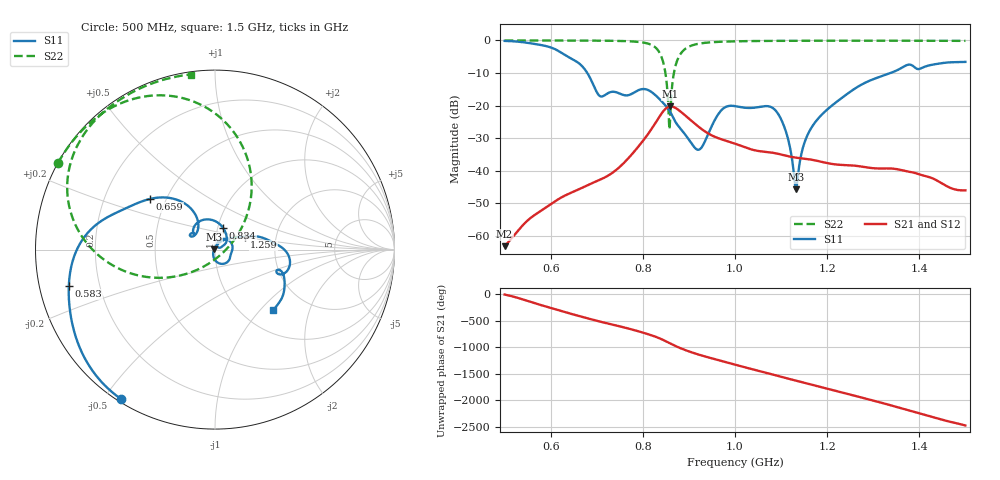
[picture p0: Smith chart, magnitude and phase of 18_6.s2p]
! TOUCHSTONE file generated by CST MICROWAVE STUDIO
! Date and time: Sat Oct 24 11:46:30 2020
! Project name: Scenario_1_Circular_Tissue_out_of_Line.cst
! Parameters = {dy1=-51.203; L_HA=400; MT=2.54; Rad_Dielectric=30; Rad_Lower=7.3; Rad_Upper=30; a_HA=580; a_WG=246; b_HA=500; b_WG=121; c_HA=0; c_WG=187; d_feed=85; dx1=1039; h_feed=15; h_lower=18; h_upper=40}
! Header version: 2018
! Port assignment regex: !\s*Touchstone port\s*([0-9]+)\s*=\s*(CST MWS port|CST DS port)\s*([0-9]+|Zmin|Zmax)\s*\(\"(.*)\"\)(\s*mode\s*([0-9]+))?.*
! Touchstone port assignment:
! Touchstone port 1 = CST MWS port 1 ("")
! Touchstone port 2 = CST MWS port 2 ("")
# GHz S DB R 50
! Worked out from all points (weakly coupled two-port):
!   1001 points, 500 MHz to 1.5 GHz, reference 50 ohm
!   highest |S21| = -20.27 dB at 860 MHz (marker M1); lowest = -63.2 dB at 500 MHz (marker M2)
!   lowest |S11| = -45.8 dB at 1.132 GHz (marker M3), VSWR 1.01, Z = 49.5 + j0.155 ohm
!   |S11| at or under -10 dB: 679.4 MHz to 1.337 GHz (658 MHz wide, 65.3 % of centre)
!   |S22| runs from -27.4 to 0.0 dB; largest |S21 - S12| = 5.3e-06
!   S11 on the Smith chart (normalised r, x): 500 MHz: 0.01, -0.55; 583 MHz: 0.09, -0.12; 659 MHz: 0.41, +0.29; 834 MHz: 1.06, +0.26; 1.259 GHz: 1.38, +0.20; 1.5 GHz: 1.37, -1.18
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0.5  -0.15 -122.3  -63.20 -2.6  -63.20 -2.6  -0.01 151.1
0.583  -1.52 -166.1  -51.95 147.8  -51.95 147.8  -0.02 145.4
0.659  -6.78 141.9  -45.88 -42.4  -45.88 -42.4  -0.04 139.1
0.667  -7.74 134.9  -45.35 -61.3  -45.35 -61.3  -0.04 138.4
0.708  -17.18 137.8  -42.73 -156.0  -42.73 -156.0  -0.07 133.9
0.789  -15.38 134.2  -32.83 26.5  -32.83 26.5  -0.44 117.4
0.834  -17.71 70.2  -23.85 -101.8  -23.85 -101.8  -3.25 83.2
0.848  -19.81 51.8  -21.17 -156.9  -21.17 -156.9  -9.20 54.8
0.855  -21.02 42.3  -20.44 172.4  -20.44 172.4  -19.22 24.1
0.86  -22.11 35.4  -20.27 150.2  -20.27 150.2  -21.08 -115.2
0.871  -25.08 27.0  -20.75 103.8  -20.75 103.8  -7.73 -158.2
0.888  -28.20 22.0  -22.56 41.5  -22.56 41.5  -3.09 178.4
0.923  -33.49 48.1  -26.74 -62.5  -26.74 -62.5  -0.96 156.9
0.968  -21.84 47.6  -30.24 -171.6  -30.24 -171.6  -0.41 145.3
1  -20.17 4.3  -31.71 111.9  -31.71 111.9  -0.28 140.3
1.09  -21.85 -72.3  -34.71 -93.8  -34.71 -93.8  -0.13 130.6
1.113  -29.18 -106.3  -35.49 -146.9  -35.49 -146.9  -0.12 128.6
1.132  -45.76 162.3  -36.00 170.9  -36.00 170.9  -0.11 127.0
1.167  -26.55 57.2  -36.66 91.8  -36.66 91.8  -0.10 124.2
1.259  -14.90 23.4  -38.46 -113.1  -38.46 -113.1  -0.08 117.1
1.334  -10.18 9.1  -39.32 73.3  -39.32 73.3  -0.09 111.5
1.5  -6.60 -46.0  -46.05 43.0  -46.05 43.0  -0.13 97.9
